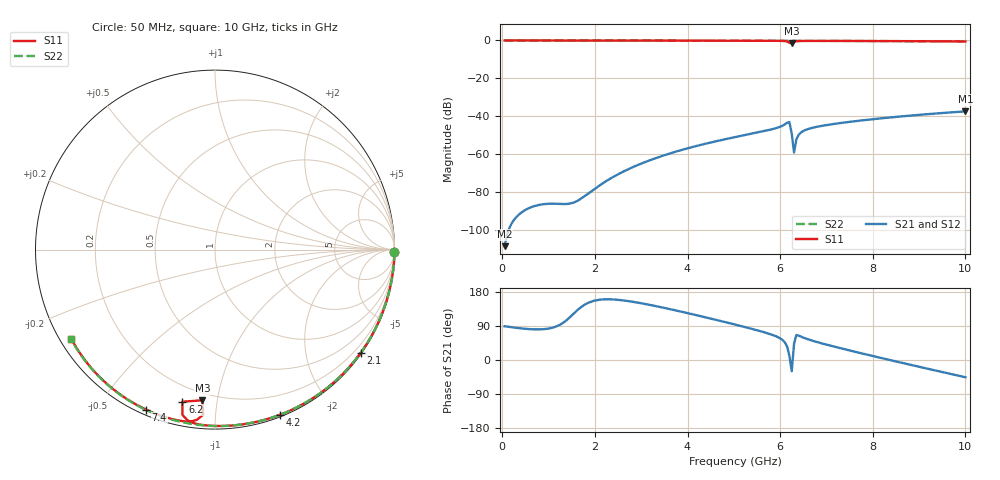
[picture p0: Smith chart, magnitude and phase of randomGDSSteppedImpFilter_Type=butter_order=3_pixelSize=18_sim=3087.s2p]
! freq	dB(S11)	phase(S11)	dB(S12)	phase(S12)
!  dB(S21)	phase(S21)	dB(S22)	phase(S22)
!S-par simulation data
#  GHz  S  DB  R 50
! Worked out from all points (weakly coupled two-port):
!   200 points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, 50 MHz to 10 GHz, reference 50 ohm
!   highest |S21| = -37.40 dB at 10 GHz (marker M1); lowest = -108.5 dB at 50 MHz (marker M2)
!   lowest |S11| = -1.5 dB at 6.25 GHz (marker M3), VSWR 11.68, Z = 7.85 - j45.4 ohm
!   |S11| at or under -10 dB: nowhere
!   |S22| runs from -0.5 to 0.0 dB; largest |S21 - S12| = 0
!   S11 on the Smith chart (normalised r, x): 50 MHz: open; 2.1 GHz: 0.03, -3.14; 4.2 GHz: 0.02, -1.47; 6.2 GHz: 0.12, -0.80; 7.4 GHz: 0.02, -0.66; 10 GHz: 0.03, -0.28
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0.05  -0.00 -0.9  -108.50 89.1  -108.50 89.1  -0.00 -0.9
0.9  -0.02 -15.3  -86.32 81.4  -86.32 81.4  -0.02 -15.4
1.75  -0.04 -29.5  -82.60 143.7  -82.60 143.7  -0.04 -29.6
1.9  -0.04 -32.0  -79.94 153.2  -79.94 153.2  -0.04 -32.1
2.1  -0.05 -35.3  -76.47 159.1  -76.47 159.1  -0.04 -35.4
2.4  -0.05 -40.2  -71.92 159.7  -71.92 159.7  -0.05 -40.3
2.7  -0.06 -45.0  -68.14 155.8  -68.14 155.8  -0.06 -45.1
3.4  -0.07 -56.1  -61.33 140.1  -61.33 140.1  -0.07 -56.2
4.2  -0.10 -68.5  -55.61 118.0  -55.61 118.0  -0.10 -68.5
5.05  -0.13 -81.3  -50.86 92.8  -50.86 92.8  -0.12 -81.1
6  -0.22 -96.5  -45.50 57.2  -45.50 57.2  -0.16 -94.7
6.15  -0.55 -101.1  -43.42 35.7  -43.42 35.7  -0.17 -96.8
6.2  -1.24 -102.1  -43.07 10.5  -43.07 10.5  -0.17 -97.5
6.25  -1.49 -94.8  -49.12 -29.6  -49.12 -29.6  -0.18 -98.2
6.3  -0.70 -94.2  -59.09 42.6  -59.09 42.6  -0.18 -98.9
6.35  -0.42 -96.0  -52.24 66.0  -52.24 66.0  -0.18 -99.6
6.4  -0.32 -97.5  -49.79 64.4  -49.79 64.4  -0.19 -100.3
6.5  -0.25 -99.7  -47.75 59.1  -47.75 59.1  -0.19 -101.7
6.7  -0.23 -103.2  -46.05 50.7  -46.05 50.7  -0.20 -104.4
7.4  -0.26 -113.3  -43.24 28.2  -43.24 28.2  -0.25 -113.9
8.35  -0.33 -126.2  -40.67 0.5  -40.67 0.5  -0.32 -126.5
10  -0.52 -148.3  -37.40 -45.5  -37.40 -45.5  -0.50 -148.2
